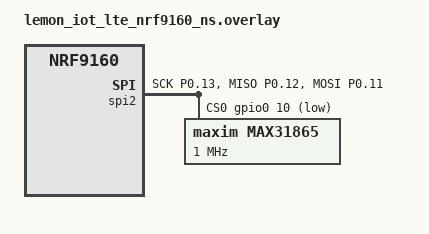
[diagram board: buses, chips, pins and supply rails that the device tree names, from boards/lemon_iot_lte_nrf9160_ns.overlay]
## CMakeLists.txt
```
# SPDX-License-Identifier: Apache-2.0

cmake_minimum_required(VERSION 3.20.0)

find_package(Zephyr REQUIRED HINTS $ENV{ZEPHYR_BASE})
project(max31865)

FILE(GLOB app_sources src/*.c)
target_sources(app PRIVATE ${app_sources})
```

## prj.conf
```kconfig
CONFIG_SPI=y
CONFIG_SENSOR=y

CONFIG_CONSOLE=y
CONFIG_CBPRINTF_LIBC_SUBSTS=y
CONFIG_CBPRINTF_FP_SUPPORT=y

CONFIG_LOG=y
#CONFIG_LOG_DEFAULT_LEVEL=4
#CONFIG_LOG_BACKEND_UART=y
```

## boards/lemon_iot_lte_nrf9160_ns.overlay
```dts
&pinctrl {
	spi2_default: spi2_default {
		group1 {
			psels = <NRF_PSEL(SPIM_SCK, 0, 13)>,
				<NRF_PSEL(SPIM_MISO, 0, 12)>,
				<NRF_PSEL(SPIM_MOSI, 0, 11)>;
		};
	};

	spi2_sleep: spi2_sleep {
		group1 {
			psels = <NRF_PSEL(SPIM_SCK, 0, 13)>,
				<NRF_PSEL(SPIM_MISO, 0, 12)>,
				<NRF_PSEL(SPIM_MOSI, 0, 11)>;
			low-power-enable;
		};
	};
};

&spi2 {
	compatible = "nordic,nrf-spim";
	status = "okay";
	cs-gpios = <&gpio0 10 GPIO_ACTIVE_LOW>;
	pinctrl-0 = <&spi2_default>;
	pinctrl-1 = <&spi2_sleep>;
	pinctrl-names = "default", "sleep";
	max31865: max31865@0 {
		compatible = "maxim,max31865";
		reg = <0>;
		spi-max-frequency = <1000000>;
		resistance-at-zero = <100>;
		resistance-reference = <430>;
		maxim,3-wire;
		filter-50hz;
		spi-cpha;
	};
};
```

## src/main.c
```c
/*
 * MAX31865 PT100 Temperature Sensor Example
 *
 * https://docs.zephyrproject.org/latest/build/dts/api/bindings/sensor/maxim%2Cmax31865.html
 * https://www.analog.com/media/en/technical-documentation/data-sheets/MAX31865.pdf
 */

#include <zephyr/kernel.h>
#include <zephyr/device.h>
#include <zephyr/devicetree.h>
#include <zephyr/drivers/sensor.h>
#include <stdio.h>

int main(void)
{
 	// Get a device structure from a devicetree node with compatible
 	// "maxim,max31865".
	const struct device *dev = DEVICE_DT_GET_ANY(maxim_max31865);

	if (dev == NULL) {
		printk("\nError: No devicetree node found for Maxim MAX31865\n");
		return 0;
	}

	if (!device_is_ready(dev)) {
		printf("Device %s is not ready\n", dev->name);
		return 0;
	}

	printk("Found device %s. Reading sensor data:\n", dev->name);

	while (true) {
		struct sensor_value temp;

		sensor_sample_fetch(dev);
		sensor_channel_get(dev, SENSOR_CHAN_AMBIENT_TEMP, &temp);

		printk("%.2f degC\n", sensor_value_to_double(&temp));

		k_sleep(K_MSEC(1000));
	}
}
```
